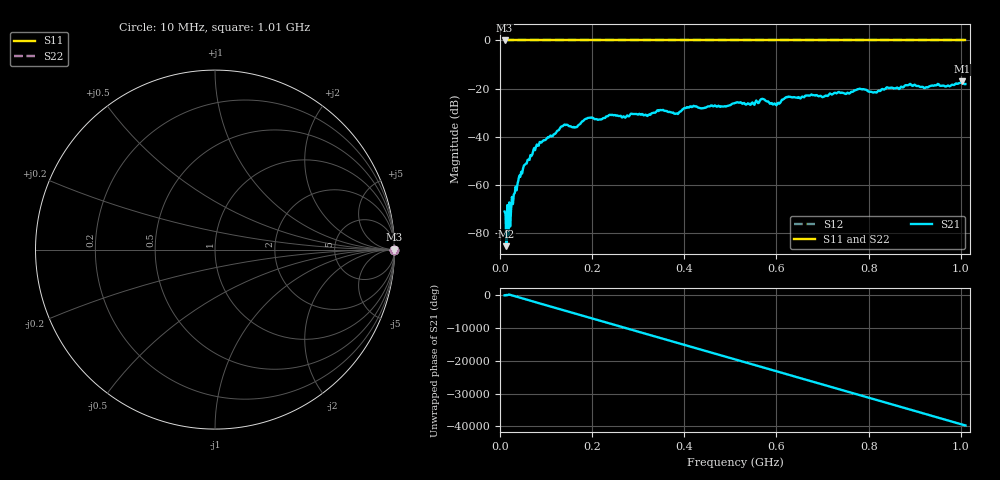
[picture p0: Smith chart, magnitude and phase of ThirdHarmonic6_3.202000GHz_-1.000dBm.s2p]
! 8/17/2025 9:43:39 AM
! C:\ANRITSUVNA\TEMP\TEMP.S2P
! CHANNEL.1
! TR.MEASUREMENT
! RAW.DATA
! RF.CORRECTION.OFF
! AVERAGING.OFF
! IF.BANDWIDTH: 5KHZ
! SWEEPTYPE:  FREQ.SWEEP(Linear)
! Reference Plane Port Info
! PORT:  PORT1  PORT2
! DISTANCE:  0  m  0  m
! TIME:  0  s  0  s
! PHASE.OFFSET:  0  deg.  0  deg.
! LOSS:  0  dB  0  dB
! REF.LOSS:  0  dB  0  dB
! REF.FREQ:  0  Hz  0  Hz
! Power Info
! POWER:  -20  dBm  -20  dBm
! EFF.POWER:  -20  dBm  -20  dBm
! SOURCE.ATTEN:  0  dB  0  dB
! TEST.ATTEN:  0  dB  0  dB
# GHZ S RI R 50.0
! FREQ.GHZ  S11RE  S11IM  S21RE  S21IM  S12RE  S12IM  S22RE  S22IM
!; PortSelection: Port_12
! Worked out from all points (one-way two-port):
!   501 points, 10 MHz to 1.01 GHz, reference 50 ohm
!   highest |S21| = -17.05 dB at 1.002 GHz (marker M1); lowest = -85.6 dB at 14 MHz (marker M2)
!   lowest |S11| = 0.0 dB at 10 MHz (marker M3)
!   |S11| at or under -10 dB: nowhere
!   |S22| runs from 0.0 to 0.0 dB; largest |S21 - S12| = 1.1
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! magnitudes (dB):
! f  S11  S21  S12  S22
! 10 MHz  0.0  -71.2  0.0  0.0
! 14 MHz  0.0  -85.6  0.0  0.0
! 18 MHz  0.0  -81.0  0.0  0.0
! 30 MHz  0.0  -64.0  0.0  0.0
! 42 MHz  0.0  -56.2  0.0  0.0
! 76 MHz  0.0  -45.7  0.0  0.0
! 136 MHz  0.0  -35.7  0.0  0.0
! 164 MHz  0.0  -36.1  0.0  0.0
! 178 MHz  0.0  -33.7  0.0  0.0
! 344 MHz  0.0  -29.4  0.0  0.0
! 382 MHz  0.0  -30.4  0.0  0.0
! 416 MHz  0.0  -27.7  0.0  0.0
! 510 MHz  0.0  -26.0  0.0  0.0
! 570 MHz  0.0  -24.3  0.0  0.0
! 596 MHz  0.0  -26.2  0.0  0.0
! 624 MHz  0.0  -23.6  0.0  0.0
! 678 MHz  0.0  -22.7  0.0  0.0
! 780 MHz  0.0  -20.1  0.0  0.0
! 814 MHz  0.0  -21.5  0.0  0.0
! 844 MHz  0.0  -19.8  0.0  0.0
! 1.002 GHz  0.0  -17.0  0.0  0.0
! 1.01 GHz  0.0  -18.1  0.0  0.0
